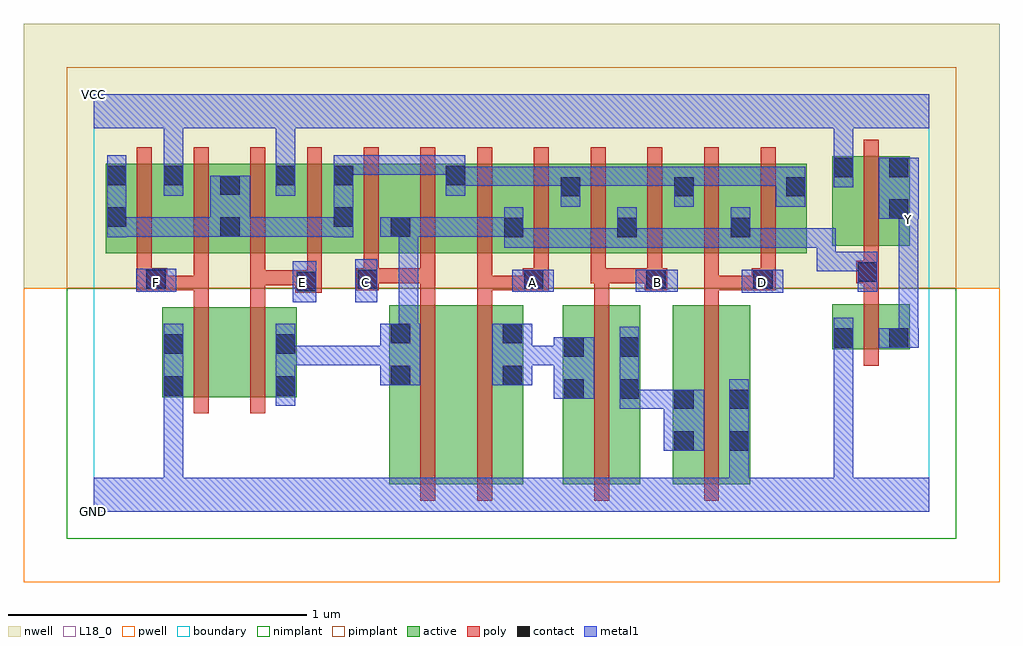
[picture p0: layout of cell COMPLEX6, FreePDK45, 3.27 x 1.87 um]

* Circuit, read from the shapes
.subckt COMPLEX6 A B C D E F GND VCC Y
M1 n1 F GND VSUBS nfet w=0.3u l=0.05u
M2 n2 E n1 VSUBS nfet w=0.3u l=0.05u
M3 n3 C n2 VSUBS nfet w=0.6u l=0.05u
M4 n4 A n3 VSUBS nfet w=0.6u l=0.05u
M5 n5 B n4 VSUBS nfet w=0.6u l=0.05u
M6 GND D n5 VSUBS nfet w=0.6u l=0.05u
M7 Y n2 GND VSUBS nfet w=0.15u l=0.05u
M8 VCC F n6 n7 pfet w=0.3u l=0.05u m=2
M9 VCC E n6 n7 pfet w=0.3u l=0.05u m=2
M10 n2 C n6 n7 pfet w=0.3u l=0.05u m=2
M11 n2 A n6 n7 pfet w=0.3u l=0.05u m=2
M12 n2 B n6 n7 pfet w=0.3u l=0.05u m=2
M13 n2 D n6 n7 pfet w=0.3u l=0.05u m=2
M14 Y n2 VCC n7 pfet w=0.3u l=0.05u
.ends

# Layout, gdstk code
import gdstk
lib = gdstk.Library(unit=1e-6, precision=1e-09)
def R(c, l, rs):  # rectangles x0, y0, x1, y1
    for r in rs: c.add(gdstk.rectangle(r[:2], r[2:], *l))
def A(c, l, x, y, w, h, nx, ny, dx, dy):  # array of equal rectangles
    R(c, l, [(x+i*dx, y+j*dy, x+i*dx+w, y+j*dy+h) for i in range(nx) for j in range(ny)])
active = (1, 0)
pwell = (2, 0)
nwell = (3, 0)
nimplant = (4, 0)
pimplant = (5, 0)
poly = (9, 0)
contact = (10, 0)
metal1 = (11, 0)
L18_0 = (18, 0)
boundary = (235, 0)

complex6 = lib.new_cell('COMPLEX6')
A(complex6, active, 0.04, 0.867, 0.075, 0.3, 3, 1, 0.38, 0)
A(complex6, active, 0.23, 0.867, 0.265, 0.3, 3, 1, 0.57, 0)
A(complex6, active, 1.56, 0.867, 0.265, 0.3, 3, 1, 0.19, 0)
A(complex6, active, 1.37, 0.915, 0.075, 0.155, 3, 1, 0.38, 0)
R(complex6, active, [(0.99,0.092,1.215,0.692), (1.215,0.092,1.44,0.692), (1.572,0.092,1.832,0.692), (1.94,0.092,2.2,0.692), (0.99,0.095,1.095,0.692), (1.365,0.095,1.44,0.692), (1.572,0.095,1.647,0.692), (1.757,0.095,1.832,0.692), (1.94,0.095,2.015,0.692), (2.125,0.095,2.2,0.692), (0.23,0.385,0.305,0.685), (0.23,0.385,0.455,0.685), (0.455,0.385,0.68,0.685), (0.605,0.385,0.68,0.685), (2.475,0.545,2.55,0.695), (2.475,0.545,2.735,0.695), (2.66,0.545,2.735,0.695), (0.04,0.867,0.305,1.167), (0.42,0.867,0.68,1.167), (0.605,0.867,0.875,1.167), (0.99,0.867,1.25,1.167), (1.175,0.867,1.445,1.167), (2.13,0.867,2.39,1.167), (2.315,0.867,2.39,1.142), (2.475,0.892,2.55,1.192), (2.475,0.892,2.735,1.192), (2.66,0.892,2.735,1.192), (0.99,0.917,1.065,1.07), (0.23,0.995,0.305,1.167), (0.605,0.995,0.68,1.167), (1.175,0.995,1.25,1.165), (1.56,0.995,1.635,1.167), (1.94,0.995,2.015,1.142)])
R(complex6, pwell, [(-0.235,-0.235,3.035,0.75)])
R(complex6, nwell, [(-0.235,0.75,3.035,1.635)])
R(complex6, nimplant, [(-0.09,-0.09,2.89,0.75)])
R(complex6, pimplant, [(-0.09,0.75,2.89,1.49)])
A(complex6, poly, 1.475, 0.767, 0.05, 0.095, 3, 1, 0.19, 0)
A(complex6, poly, 0.145, 0.812, 0.05, 0.41, 12, 1, 0.19, 0)
R(complex6, poly, [(1.095,0.037,1.145,0.747), (1.285,0.037,1.335,0.747), (1.677,0.037,1.727,0.747), (2.045,0.037,2.095,0.747), (0.335,0.33,0.385,0.74), (0.525,0.33,0.575,0.74), (2.58,0.49,2.63,0.75), (0.335,0.69,0.385,0.792), (0.525,0.69,0.575,0.81), (1.095,0.697,1.145,0.817), (1.285,0.697,1.335,0.792), (1.677,0.697,1.727,0.817), (2.045,0.697,2.095,0.792), (2.58,0.7,2.63,0.817), (0.675,0.735,0.765,0.81), (0.145,0.742,0.247,0.817), (0.197,0.742,0.385,0.792), (0.335,0.742,0.385,0.792), (0.335,0.742,0.385,0.792), (0.335,0.742,0.385,0.792), (0.335,0.742,0.385,0.862), (0.88,0.742,0.955,0.817), (1.285,0.742,1.335,0.792), (1.285,0.742,1.335,0.792), (1.285,0.742,1.335,0.792), (1.285,0.742,1.335,0.862), (1.285,0.742,1.487,0.792), (1.437,0.742,1.525,0.817), (1.847,0.742,1.922,0.817), (2.045,0.742,2.255,0.792), (2.045,0.742,2.095,0.792), (2.045,0.742,2.095,0.792), (2.045,0.742,2.095,0.792), (2.045,0.742,2.095,0.862), (2.205,0.742,2.285,0.817), (0.525,0.76,0.575,0.81), (0.525,0.76,0.575,0.862), (0.525,0.76,0.585,0.81), (0.535,0.76,0.585,0.81), (0.535,0.76,0.725,0.81), (0.715,0.76,0.765,0.862), (0.145,0.767,0.195,0.862), (0.905,0.767,0.955,0.862), (0.905,0.767,0.955,0.817), (0.905,0.767,0.955,0.817), (0.905,0.767,1.145,0.817), (1.095,0.767,1.145,0.862), (1.095,0.767,1.145,0.817), (1.665,0.767,1.727,0.817), (1.677,0.767,1.897,0.817), (1.847,0.767,1.897,0.817), (1.847,0.767,1.897,0.817), (2.235,0.767,2.285,0.862), (2.555,0.767,2.63,0.842), (2.58,0.792,2.63,0.887), (2.58,0.837,2.63,1.247)])
A(complex6, contact, 1.375, 0.92, 0.065, 0.065, 3, 1, 0.38, 0)
R(complex6, contact, [(1.945,0.205,2.01,0.27), (2.13,0.205,2.195,0.27), (1.945,0.345,2.01,0.41), (2.13,0.345,2.195,0.41), (1.577,0.38,1.642,0.445), (1.762,0.38,1.827,0.445), (0.235,0.39,0.3,0.455), (0.61,0.39,0.675,0.455), (0.995,0.425,1.06,0.49), (1.37,0.425,1.435,0.49), (1.577,0.52,1.642,0.585), (1.762,0.52,1.827,0.585), (0.235,0.53,0.3,0.595), (0.61,0.53,0.675,0.595), (2.48,0.55,2.545,0.615), (2.665,0.55,2.73,0.615), (0.995,0.565,1.06,0.63), (1.37,0.565,1.435,0.63), (0.68,0.74,0.745,0.805), (0.177,0.747,0.242,0.812), (0.885,0.747,0.95,0.812), (1.442,0.747,1.507,0.812), (1.852,0.747,1.917,0.812), (2.21,0.747,2.275,0.812), (2.56,0.772,2.625,0.837), (0.425,0.922,0.49,0.987), (0.995,0.922,1.06,0.987), (0.045,0.955,0.11,1.02), (0.805,0.955,0.87,1.02), (2.665,0.982,2.73,1.047), (1.565,1.057,1.63,1.122), (1.945,1.057,2.01,1.122), (2.32,1.057,2.385,1.122), (0.425,1.062,0.49,1.127), (0.045,1.095,0.11,1.16), (0.235,1.095,0.3,1.16), (0.61,1.095,0.675,1.16), (0.805,1.095,0.87,1.16), (1.18,1.095,1.245,1.16), (2.48,1.122,2.545,1.187), (2.665,1.122,2.73,1.187)])
A(complex6, metal1, 1.375, 0.885, 0.065, 0.135, 3, 1, 0.38, 0)
R(complex6, metal1, [(0,0,2.8,0.115), (0.235,0.05,0.3,0.115), (0.235,0.05,0.3,0.115), (0.235,0.05,0.3,0.42), (2.13,0.05,2.195,0.235), (2.48,0.05,2.545,0.115), (2.48,0.05,2.545,0.115), (2.48,0.05,2.545,0.115), (2.48,0.05,2.545,0.115), (2.48,0.05,2.545,0.115), (2.48,0.05,2.545,0.115), (2.48,0.05,2.545,0.58), (2.13,0.17,2.195,0.445), (1.91,0.205,2.045,0.41), (1.762,0.345,1.827,0.41), (1.762,0.345,1.827,0.41), (1.762,0.345,1.827,0.62), (1.762,0.345,1.975,0.41), (0.235,0.355,0.3,0.42), (0.235,0.355,0.3,0.42), (0.235,0.355,0.3,0.63), (0.61,0.355,0.675,0.63), (1.542,0.38,1.677,0.585), (0.96,0.425,1.095,0.63), (1.335,0.425,1.47,0.63), (0.61,0.492,0.675,0.557), (0.61,0.492,0.675,0.557), (0.61,0.492,0.887,0.557), (0.822,0.492,0.887,0.557), (0.822,0.492,0.887,0.557), (0.822,0.492,0.887,0.557), (0.822,0.492,1.025,0.557), (1.405,0.492,1.47,0.557), (1.405,0.492,1.47,0.557), (1.405,0.492,1.607,0.557), (2.48,0.515,2.545,0.65), (2.63,0.55,2.765,0.615), (2.697,0.55,2.762,0.977), (1.022,0.565,1.087,0.987), (0.667,0.702,0.745,0.84), (0.877,0.702,0.95,0.847), (2.172,0.735,2.31,0.812), (0.142,0.737,0.277,0.815), (1.402,0.737,1.542,0.812), (1.817,0.737,1.957,0.812), (2.56,0.737,2.625,0.872), (2.422,0.807,2.487,0.872), (2.422,0.807,2.625,0.872), (2.422,0.807,2.487,0.95), (1.375,0.885,1.44,0.95), (1.375,0.885,1.44,0.95), (1.375,0.885,1.682,0.95), (1.617,0.885,1.682,0.95), (1.617,0.885,1.682,0.95), (1.617,0.885,1.682,0.95), (1.617,0.885,1.82,0.95), (1.755,0.885,1.82,0.95), (1.755,0.885,1.82,0.95), (1.755,0.885,1.965,0.95), (1.9,0.885,1.965,0.95), (1.9,0.885,1.965,0.95), (1.9,0.885,1.965,0.95), (1.9,0.885,2.2,0.95), (2.135,0.885,2.2,0.95), (2.135,0.885,2.2,0.95), (2.135,0.885,2.487,0.95), (2.422,0.885,2.487,0.95), (2.422,0.885,2.487,0.95), (2.422,0.885,2.487,0.95), (2.697,0.912,2.762,1.047), (0.045,0.92,0.11,1.195), (0.805,0.92,0.87,1.195), (0.045,0.922,0.11,0.987), (0.045,0.922,0.11,0.987), (0.045,0.922,0.317,0.987), (0.252,0.922,0.317,0.987), (0.252,0.922,0.317,0.987), (0.252,0.922,0.317,0.987), (0.252,0.922,0.455,0.987), (0.39,0.922,0.525,1.127), (0.46,0.922,0.525,0.987), (0.46,0.922,0.525,0.987), (0.46,0.922,0.732,0.987), (0.667,0.922,0.732,0.987), (0.667,0.922,0.732,0.987), (0.667,0.922,0.732,0.987), (0.667,0.922,0.87,0.987), (0.96,0.922,1.095,0.987), (1.022,0.922,1.087,0.987), (1.022,0.922,1.087,0.987), (1.03,0.922,1.095,0.987), (1.03,0.922,1.095,0.987), (1.03,0.922,1.262,0.987), (1.197,0.922,1.262,0.987), (1.197,0.922,1.262,0.987), (1.197,0.922,1.262,0.987), (1.197,0.922,1.44,0.987), (2.63,0.982,2.765,1.187), (2.697,0.982,2.762,1.047), (1.565,1.022,1.63,1.157), (1.945,1.022,2.01,1.157), (2.285,1.022,2.385,1.157), (0.235,1.06,0.3,1.195), (0.61,1.06,0.675,1.195), (1.18,1.06,1.245,1.195), (2.48,1.087,2.545,1.222), (1.18,1.092,1.245,1.157), (1.18,1.092,1.245,1.157), (1.18,1.092,1.4,1.157), (1.335,1.092,1.4,1.157), (1.335,1.092,1.4,1.157), (1.335,1.092,1.4,1.157), (1.335,1.092,1.63,1.157), (1.565,1.092,1.63,1.157), (1.565,1.092,1.63,1.157), (1.565,1.092,1.827,1.157), (1.762,1.092,1.827,1.157), (1.762,1.092,1.827,1.157), (1.762,1.092,1.827,1.157), (1.762,1.092,2.01,1.157), (1.945,1.092,2.01,1.157), (1.945,1.092,2.01,1.157), (1.945,1.092,2.147,1.157), (2.082,1.092,2.147,1.157), (2.082,1.092,2.35,1.157), (2.285,1.092,2.35,1.157), (2.285,1.092,2.35,1.157), (0.235,1.13,0.3,1.195), (0.235,1.13,0.3,1.195), (0.235,1.13,0.3,1.35), (0.61,1.13,0.675,1.35), (0.805,1.13,0.87,1.195), (0.805,1.13,0.87,1.195), (0.805,1.13,0.87,1.195), (0.805,1.13,0.87,1.195), (0.805,1.13,1.087,1.195), (1.022,1.13,1.087,1.195), (1.022,1.13,1.087,1.195), (1.022,1.13,1.087,1.195), (1.022,1.13,1.245,1.195), (2.48,1.157,2.545,1.35), (0,1.285,2.8,1.4), (0.61,1.285,0.675,1.35), (0.61,1.285,0.675,1.35), (2.48,1.285,2.545,1.35), (2.48,1.285,2.545,1.35)])
R(complex6, L18_0, [(0,0,2.8,0.115), (0.235,0.05,0.3,0.115), (0.235,0.05,0.3,0.115), (0.235,0.05,0.3,0.42), (2.13,0.05,2.195,0.235), (2.48,0.05,2.545,0.115), (2.48,0.05,2.545,0.115), (2.48,0.05,2.545,0.115), (2.48,0.05,2.545,0.115), (2.48,0.05,2.545,0.115), (2.48,0.05,2.545,0.115), (2.48,0.05,2.545,0.58), (2.13,0.17,2.195,0.445), (0.235,0.355,0.3,0.42), (0.235,0.355,0.3,0.42), (0.235,0.355,0.3,0.63), (2.48,0.515,2.545,0.65), (2.63,0.55,2.765,0.615), (2.697,0.55,2.762,0.977), (0.667,0.702,0.745,0.84), (0.877,0.702,0.95,0.847), (2.172,0.735,2.31,0.812), (0.142,0.737,0.277,0.815), (0.177,0.737,0.242,0.802), (0.667,0.737,0.732,0.802), (0.877,0.737,0.942,0.802), (1.402,0.737,1.542,0.812), (1.437,0.737,1.502,0.802), (1.817,0.737,1.957,0.812), (1.857,0.737,1.922,0.802), (2.207,0.737,2.272,0.802), (2.697,0.912,2.762,1.047), (2.697,0.947,2.762,1.012), (2.63,0.982,2.765,1.187), (2.697,0.982,2.762,1.047), (0.235,1.06,0.3,1.195), (0.61,1.06,0.675,1.195), (2.48,1.087,2.545,1.222), (0.235,1.13,0.3,1.195), (0.235,1.13,0.3,1.195), (0.235,1.13,0.3,1.35), (0.61,1.13,0.675,1.35), (2.48,1.157,2.545,1.35), (0,1.285,2.8,1.4), (0.61,1.285,0.675,1.35), (0.61,1.285,0.675,1.35), (2.48,1.285,2.545,1.35), (2.48,1.285,2.545,1.35)])
R(complex6, boundary, [(0,0,2.8,1.4)])
complex6.add(gdstk.Label('A', (1.47,0.77), layer=11, texttype=0))
complex6.add(gdstk.Label('B', (1.89,0.77), layer=11, texttype=0))
complex6.add(gdstk.Label('C', (0.91,0.77), layer=11, texttype=0))
complex6.add(gdstk.Label('D', (2.24,0.77), layer=11, texttype=0))
complex6.add(gdstk.Label('E', (0.7,0.77), layer=11, texttype=0))
complex6.add(gdstk.Label('F', (0.21,0.77), layer=11, texttype=0))
complex6.add(gdstk.Label('Y', (2.73,0.98), layer=11, texttype=0))
complex6.add(gdstk.Label('VCC', (0,1.4), layer=11, texttype=0))
complex6.add(gdstk.Label('GND', (0,0), layer=11, texttype=0))

lib.write_gds('COMPLEX6.gds')
